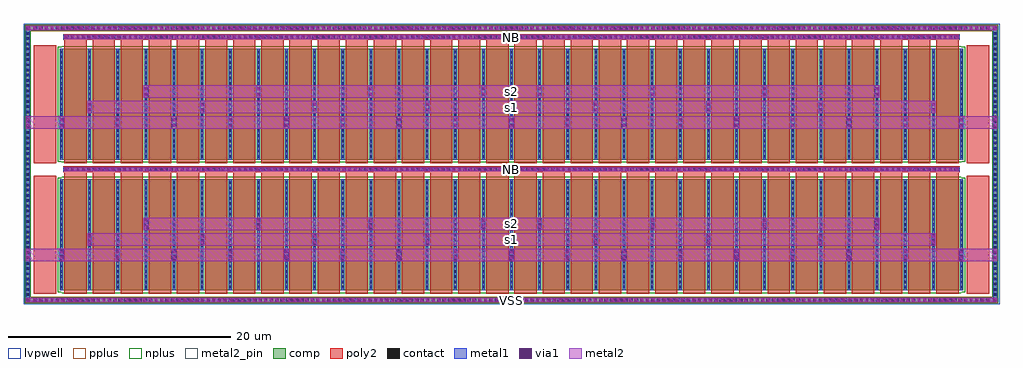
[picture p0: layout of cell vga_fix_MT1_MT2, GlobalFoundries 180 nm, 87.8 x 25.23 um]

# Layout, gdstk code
import gdstk
lib = gdstk.Library(unit=1e-6, precision=1e-09)
def R(c, l, rs):  # rectangles x0, y0, x1, y1
    for r in rs: c.add(gdstk.rectangle(r[:2], r[2:], *l))
def A(c, l, x, y, w, h, nx, ny, dx, dy):  # array of equal rectangles
    R(c, l, [(x+i*dx, y+j*dy, x+i*dx+w, y+j*dy+h) for i in range(nx) for j in range(ny)])
comp = (22, 0)
poly2 = (30, 0)
pplus = (31, 0)
nplus = (32, 0)
contact = (33, 0)
metal1 = (34, 0)
via1 = (35, 0)
metal2 = (36, 0)
metal2_pin = (36, 10)
lvpwell = (204, 0)

vga_fix_mt1_mt2 = lib.new_cell('vga_fix_MT1_MT2')
R(vga_fix_mt1_mt2, comp, [(-3.12,-0.82,84.44,-0.3), (-3.12,-0.3,-2.6,23.655), (83.92,-0.3,84.44,23.655), (0,0.3,81.32,10.3), (0,12.055,81.32,22.055), (-3.12,23.655,84.44,24.175)])
A(vga_fix_mt1_mt2, poly2, 0.445, 0, 2, 10.945, 32, 1, 2.53, 0)
A(vga_fix_mt1_mt2, poly2, 0.445, 11.755, 2, 11.09, 32, 1, 2.53, 0)
R(vga_fix_mt1_mt2, poly2, [(-2.3,0,-0.3,10.6), (81.62,0,83.62,10.6), (0.345,10.945,80.975,11.455), (-2.3,11.755,-0.3,22.355), (81.62,11.755,83.62,22.355), (0.345,22.845,80.975,23.355)])
R(vga_fix_mt1_mt2, pplus, [(-2.46,-0.85,83.78,-0.84), (-3.14,-0.84,84.46,-0.795), (-3.15,-0.795,84.47,-0.27), (-3.15,-0.27,-2.57,23.625), (83.89,-0.27,84.47,23.625), (-3.15,23.625,84.47,24.15), (-3.14,24.15,84.46,24.195), (-2.46,24.195,83.78,24.205)])
R(vga_fix_mt1_mt2, nplus, [(0.215,0.07,81.105,0.14), (-0.16,0.14,81.48,10.46), (0.215,10.46,81.105,10.53), (0.215,11.825,81.105,11.895), (-0.16,11.895,81.48,22.215), (0.215,22.215,81.105,22.285)])
A(vga_fix_mt1_mt2, contact, -2.22, -0.67, 0.22, 0.22, 183, 2, 0.47, 24.475)
A(vga_fix_mt1_mt2, contact, -2.97, -0.655, 0.22, 0.22, 1, 53, 0, 0.47)
A(vga_fix_mt1_mt2, contact, 84.07, -0.655, 0.22, 0.22, 1, 53, 0, 0.47)
A(vga_fix_mt1_mt2, contact, 0.07, 0.49, 0.22, 0.22, 33, 21, 2.53, 0.47)
A(vga_fix_mt1_mt2, contact, 0.6, 11.09, 0.22, 0.22, 171, 2, 0.47, 11.9)
A(vga_fix_mt1_mt2, contact, 0.07, 12.245, 0.22, 0.22, 33, 21, 2.53, 0.47)
A(vga_fix_mt1_mt2, metal1, 0.065, 0.31, 0.23, 2.63, 17, 1, 5.06, 0)
A(vga_fix_mt1_mt2, metal1, 2.595, 0.31, 0.23, 4.03, 4, 1, 10.12, 0)
A(vga_fix_mt1_mt2, metal1, 7.655, 0.31, 0.23, 5.43, 4, 1, 10.12, 0)
A(vga_fix_mt1_mt2, metal1, 43.075, 0.31, 0.23, 5.43, 4, 1, 10.12, 0)
A(vga_fix_mt1_mt2, metal1, 48.135, 0.31, 0.23, 4.03, 4, 1, 10.12, 0)
A(vga_fix_mt1_mt2, metal1, -0.01, 2.94, 0.38, 1.12, 17, 2, 5.06, 11.9)
A(vga_fix_mt1_mt2, metal1, 0.065, 4.06, 0.23, 6.23, 17, 1, 5.06, 0)
A(vga_fix_mt1_mt2, metal1, 2.52, 4.34, 0.38, 1.12, 4, 2, 10.12, 11.9)
A(vga_fix_mt1_mt2, metal1, 48.06, 4.34, 0.38, 1.12, 4, 2, 10.12, 11.9)
A(vga_fix_mt1_mt2, metal1, 2.595, 5.46, 0.23, 4.83, 4, 1, 10.12, 0)
A(vga_fix_mt1_mt2, metal1, 48.135, 5.46, 0.23, 4.83, 4, 1, 10.12, 0)
A(vga_fix_mt1_mt2, metal1, 7.58, 5.74, 0.38, 1.12, 4, 2, 10.12, 11.9)
A(vga_fix_mt1_mt2, metal1, 43, 5.74, 0.38, 1.12, 4, 2, 10.12, 11.9)
A(vga_fix_mt1_mt2, metal1, 7.655, 6.86, 0.23, 3.43, 4, 1, 10.12, 0)
A(vga_fix_mt1_mt2, metal1, 43.075, 6.86, 0.23, 3.43, 4, 1, 10.12, 0)
A(vga_fix_mt1_mt2, metal1, 0.065, 12.065, 0.23, 2.775, 17, 1, 5.06, 0)
A(vga_fix_mt1_mt2, metal1, 2.595, 12.065, 0.23, 4.175, 4, 1, 10.12, 0)
A(vga_fix_mt1_mt2, metal1, 7.655, 12.065, 0.23, 5.575, 4, 1, 10.12, 0)
A(vga_fix_mt1_mt2, metal1, 43.075, 12.065, 0.23, 5.575, 4, 1, 10.12, 0)
A(vga_fix_mt1_mt2, metal1, 48.135, 12.065, 0.23, 4.175, 4, 1, 10.12, 0)
A(vga_fix_mt1_mt2, metal1, 0.065, 15.96, 0.23, 6.085, 17, 1, 5.06, 0)
A(vga_fix_mt1_mt2, metal1, 2.595, 17.36, 0.23, 4.685, 4, 1, 10.12, 0)
A(vga_fix_mt1_mt2, metal1, 48.135, 17.36, 0.23, 4.685, 4, 1, 10.12, 0)
A(vga_fix_mt1_mt2, metal1, 7.655, 18.76, 0.23, 3.285, 4, 1, 10.12, 0)
A(vga_fix_mt1_mt2, metal1, 43.075, 18.76, 0.23, 3.285, 4, 1, 10.12, 0)
R(vga_fix_mt1_mt2, metal1, [(-3.055,-0.755,84.375,-0.365), (-3.055,-0.365,-2.665,23.72), (83.985,-0.365,84.375,23.72), (0.355,11.01,80.965,11.39), (0.355,22.91,80.965,23.29), (-3.055,23.72,84.375,24.11)])
A(vga_fix_mt1_mt2, via1, -2.89, -0.69, 0.26, 0.26, 168, 2, 0.52, 24.475)
A(vga_fix_mt1_mt2, via1, 0.05, 3.11, 0.26, 0.26, 17, 2, 5.06, 0.52)
A(vga_fix_mt1_mt2, via1, 2.58, 4.51, 0.26, 0.26, 4, 2, 10.12, 0.52)
A(vga_fix_mt1_mt2, via1, 48.12, 4.51, 0.26, 0.26, 4, 2, 10.12, 0.52)
A(vga_fix_mt1_mt2, via1, 7.64, 5.91, 0.26, 0.26, 4, 2, 10.12, 0.52)
A(vga_fix_mt1_mt2, via1, 43.06, 5.91, 0.26, 0.26, 4, 2, 10.12, 0.52)
A(vga_fix_mt1_mt2, via1, 0.49, 11.07, 0.26, 0.26, 155, 2, 0.52, 11.9)
A(vga_fix_mt1_mt2, via1, 0.05, 15.01, 0.26, 0.26, 17, 2, 5.06, 0.52)
A(vga_fix_mt1_mt2, via1, 2.58, 16.41, 0.26, 0.26, 4, 2, 10.12, 0.52)
A(vga_fix_mt1_mt2, via1, 48.12, 16.41, 0.26, 0.26, 4, 2, 10.12, 0.52)
A(vga_fix_mt1_mt2, via1, 7.64, 17.81, 0.26, 0.26, 4, 2, 10.12, 0.52)
A(vga_fix_mt1_mt2, via1, 43.06, 17.81, 0.26, 0.26, 4, 2, 10.12, 0.52)
R(vga_fix_mt1_mt2, via1, [(-2.99,3.11,-2.73,3.37), (84.05,3.11,84.31,3.37), (-2.99,3.63,-2.73,3.89), (84.05,3.63,84.31,3.89), (-2.99,15.01,-2.73,15.27), (84.05,15.01,84.31,15.27), (-2.99,15.53,-2.73,15.79), (84.05,15.53,84.31,15.79)])
R(vga_fix_mt1_mt2, metal2, [(-3.055,-0.755,84.375,-0.365), (-3.055,2.94,84.375,4.06), (2.52,4.34,78.8,5.46), (7.58,5.74,73.74,6.86), (0.41,11.01,80.91,11.39), (-3.055,14.84,84.375,15.96), (2.52,16.24,78.8,17.36), (7.58,17.64,73.74,18.76), (0.41,22.91,80.91,23.29), (-3.055,23.72,84.375,24.11)])
R(vga_fix_mt1_mt2, metal2_pin, [(-3.055,-0.755,84.375,-0.365), (2.52,4.34,78.8,5.46), (7.58,5.74,73.74,6.86), (0.41,11.01,80.91,11.39), (2.52,16.24,78.8,17.36), (7.58,17.64,73.74,18.76), (0.41,22.91,80.91,23.29)])
R(vga_fix_mt1_mt2, lvpwell, [(-3.24,-0.94,84.56,24.295)])
vga_fix_mt1_mt2.add(gdstk.Label('s1', (40.66,16.8), layer=36, texttype=10))
vga_fix_mt1_mt2.add(gdstk.Label('s1', (40.66,4.9), layer=36, texttype=10))
vga_fix_mt1_mt2.add(gdstk.Label('s2', (40.66,18.2), layer=36, texttype=10))
vga_fix_mt1_mt2.add(gdstk.Label('s2', (40.66,6.3), layer=36, texttype=10))
vga_fix_mt1_mt2.add(gdstk.Label('NB', (40.66,23.1), layer=36, texttype=10))
vga_fix_mt1_mt2.add(gdstk.Label('NB', (40.66,11.2), layer=36, texttype=10))
vga_fix_mt1_mt2.add(gdstk.Label('VSS', (40.66,-0.56), layer=36, texttype=10))

lib.write_gds('vga_fix_MT1_MT2.gds')
